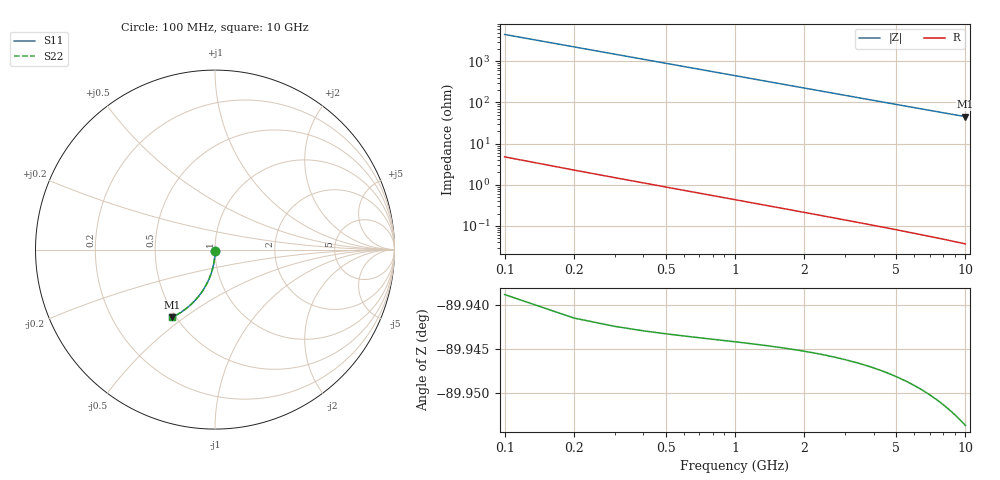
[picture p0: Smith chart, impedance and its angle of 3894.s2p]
# Hz S RI R 50.00
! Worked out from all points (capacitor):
!   100 points, 100 MHz to 10 GHz, reference 50 ohm
!   read as one part in shunt: C = 355 fF near 100 MHz
!   lowest |Z| = 45.4 ohm at 10 GHz (marker M1)
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1e8  0.000304 -0.00507  0.9996 -0.00609  0.9996 -0.00609  0.000304 -0.00507
2e8  0.000208 -0.0101  0.9995 -0.0122  0.9995 -0.0122  0.000208 -0.0101
3e8  5e-05 -0.0152  0.9994 -0.0183  0.9994 -0.0183  5e-05 -0.0152
4e8  -0.00017 -0.0203  0.9991 -0.0243  0.9991 -0.0243  -0.00017 -0.0203
5e8  -0.000452 -0.0253  0.9988 -0.0304  0.9988 -0.0304  -0.000452 -0.0253
6e8  -0.000795 -0.0304  0.9985 -0.0365  0.9985 -0.0365  -0.000795 -0.0304
7e8  -0.0012 -0.0354  0.9981 -0.0426  0.9981 -0.0426  -0.0012 -0.0354
8e8  -0.00167 -0.0405  0.9976 -0.0486  0.9976 -0.0486  -0.00167 -0.0405
9e8  -0.00219 -0.0455  0.9971 -0.0547  0.9971 -0.0547  -0.00219 -0.0455
1.1e9  -0.00343 -0.0556  0.9958 -0.0667  0.9958 -0.0667  -0.00343 -0.0556
1.4e9  -0.00574 -0.0705  0.9934 -0.0848  0.9934 -0.0848  -0.00574 -0.0705
1.8e9  -0.00965 -0.0903  0.9895 -0.1086  0.9895 -0.1086  -0.00965 -0.0903
2.1e9  -0.0132 -0.105  0.9858 -0.1263  0.9858 -0.1263  -0.0132 -0.105
2.5e9  -0.0187 -0.1242  0.9802 -0.1497  0.9802 -0.1497  -0.0187 -0.1242
2.9e9  -0.0252 -0.1431  0.9737 -0.1726  0.9737 -0.1726  -0.0252 -0.1431
3.4e9  -0.0344 -0.1661  0.9643 -0.2007  0.9643 -0.2007  -0.0344 -0.1661
4.2e9  -0.0518 -0.2013  0.9466 -0.2441  0.9466 -0.2441  -0.0518 -0.2013
5.1e9  -0.0747 -0.2382  0.9231 -0.2902  0.9231 -0.2902  -0.0747 -0.2382
5.9e9  -0.0978 -0.2682  0.8996 -0.3284  0.8996 -0.3284  -0.0978 -0.2682
6.7e9  -0.123 -0.2954  0.8739 -0.3639  0.8739 -0.3639  -0.123 -0.2954
8.4e9  -0.1815 -0.3437  0.814 -0.4299  0.814 -0.4299  -0.1815 -0.3437
1e10  -0.2403 -0.3771  0.7536 -0.48  0.7536 -0.48  -0.2403 -0.3771
